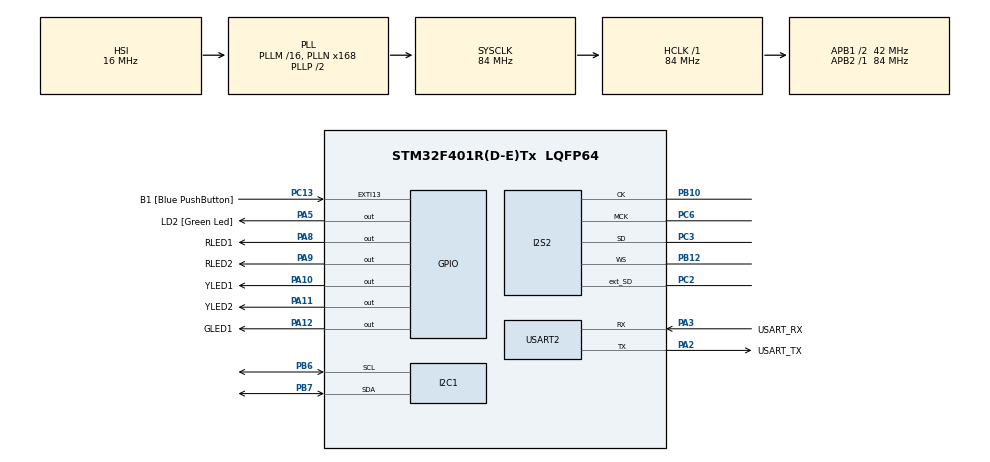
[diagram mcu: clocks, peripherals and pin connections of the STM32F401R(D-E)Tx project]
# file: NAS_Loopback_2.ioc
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Dma.I2S2_EXT_RX.1.Direction=DMA_PERIPH_TO_MEMORY
Dma.I2S2_EXT_RX.1.FIFOMode=DMA_FIFOMODE_DISABLE
Dma.I2S2_EXT_RX.1.Instance=DMA1_Stream3
Dma.I2S2_EXT_RX.1.MemDataAlignment=DMA_MDATAALIGN_HALFWORD
Dma.I2S2_EXT_RX.1.MemInc=DMA_MINC_ENABLE
Dma.I2S2_EXT_RX.1.Mode=DMA_CIRCULAR
Dma.I2S2_EXT_RX.1.PeriphDataAlignment=DMA_PDATAALIGN_HALFWORD
Dma.I2S2_EXT_RX.1.PeriphInc=DMA_PINC_DISABLE
Dma.I2S2_EXT_RX.1.Priority=DMA_PRIORITY_VERY_HIGH
Dma.Request0=SPI2_TX
Dma.Request1=I2S2_EXT_RX
Dma.SPI2_TX.0.Direction=DMA_MEMORY_TO_PERIPH
Dma.SPI2_TX.0.FIFOMode=DMA_FIFOMODE_DISABLE
Dma.SPI2_TX.0.Instance=DMA1_Stream4
Dma.SPI2_TX.0.MemDataAlignment=DMA_MDATAALIGN_HALFWORD
Dma.SPI2_TX.0.MemInc=DMA_MINC_ENABLE
Dma.SPI2_TX.0.Mode=DMA_CIRCULAR
Dma.SPI2_TX.0.PeriphDataAlignment=DMA_PDATAALIGN_HALFWORD
Dma.SPI2_TX.0.PeriphInc=DMA_PINC_DISABLE
Dma.SPI2_TX.0.Priority=DMA_PRIORITY_VERY_HIGH
I2C1.I2C_Mode=I2C_Standard
I2S2.AudioFreq=I2S_AUDIOFREQ_48K
I2S2.ErrorAudioFreq=-0.01 %
I2S2.FullDuplexMode=I2S_FULLDUPLEXMODE_ENABLE
I2S2.Instance=SPI$Index
I2S2.Mode=I2S_MODE_MASTER_TX
I2S2.RealAudioFreq=47.991 KHz
I2S2.Standard=I2S_STANDARD_PHILIPS
I2S2.VirtualMode=I2S_MODE_MASTER
Mcu.Family=STM32F4
Mcu.Name=STM32F401R(D-E)Tx
Mcu.Package=LQFP64
NVIC.DMA1_Stream3_IRQn=true\:0\:0\:false\:false\:true\:false\:true\:true
NVIC.DMA1_Stream4_IRQn=true\:0\:0\:false\:false\:true\:false\:true\:true
NVIC.PriorityGroup=NVIC_PRIORITYGROUP_0
NVIC.TIM3_IRQn=true\:0\:0\:false\:false\:true\:true\:true\:true
PA10.GPIO_Label=YLED1
PA10.Signal=GPIO_Output
PA11.GPIO_Label=YLED2
PA11.Signal=GPIO_Output
PA12.GPIO_Label=GLED1
PA12.Signal=GPIO_Output
PA14.GPIO_Label=TCK
PA14.Signal=SYS_JTCK-SWCLK
PA2.GPIO_Label=USART_TX
PA2.GPIO_Mode=GPIO_MODE_AF_PP
PA2.GPIO_PuPd=GPIO_NOPULL
PA2.GPIO_Speed=GPIO_SPEED_FREQ_LOW
PA2.Mode=Asynchronous
PA2.Signal=USART2_TX
PA3.GPIO_Label=USART_RX
PA3.GPIO_Mode=GPIO_MODE_AF_PP
PA3.GPIO_PuPd=GPIO_NOPULL
PA3.GPIO_Speed=GPIO_SPEED_FREQ_LOW
PA3.Mode=Asynchronous
PA3.Signal=USART2_RX
PA5.GPIO_Label=LD2 [Green Led]
PA5.GPIO_Mode=GPIO_MODE_OUTPUT_PP
PA5.GPIO_PuPd=GPIO_NOPULL
PA5.GPIO_Speed=GPIO_SPEED_FREQ_LOW
PA5.Signal=GPIO_Output
PA8.GPIO_Label=RLED1
PA8.Signal=GPIO_Output
PA9.GPIO_Label=RLED2
PA9.Signal=GPIO_Output
PB10.Mode=Full_Duplex_Master
PB10.Signal=I2S2_CK
PB12.Mode=Full_Duplex_Master
PB12.Signal=I2S2_WS
PB3.GPIO_Label=SWO
PB3.Signal=SYS_JTDO-SWO
PB6.Mode=I2C
PB6.Signal=I2C1_SCL
PB7.Mode=I2C
PB7.Signal=I2C1_SDA
PC13-ANTI_TAMP.GPIO_Label=B1 [Blue PushButton]
PC13-ANTI_TAMP.GPIO_ModeDefaultEXTI=GPIO_MODE_IT_FALLING
PC13-ANTI_TAMP.GPIO_PuPd=GPIO_NOPULL
PC13-ANTI_TAMP.Signal=GPXTI13
PC14-OSC32_IN.Mode=LSE-External-Oscillator
PC14-OSC32_IN.Signal=RCC_OSC32_IN
PC15-OSC32_OUT.Mode=LSE-External-Oscillator
PC15-OSC32_OUT.Signal=RCC_OSC32_OUT
PC2.Mode=Full_Duplex_Master
PC2.Signal=I2S2_ext_SD
PC3.Mode=Full_Duplex_Master
PC3.Signal=I2S2_SD
PC6.Mode=Master_Clock_Activated
PC6.Signal=I2S2_MCK
PH0\ -\ OSC_IN.Mode=HSE-External-Clock-Source
PH0\ -\ OSC_IN.Signal=RCC_OSC_IN
PH1\ -\ OSC_OUT.Mode=HSE-External-Clock-Source
PH1\ -\ OSC_OUT.Signal=RCC_OSC_OUT
ProjectManager.HeapSize=0x200
ProjectManager.StackSize=0x400
ProjectManager.TargetToolchain=STM32CubeIDE
RCC.48MHZClocksFreq_Value=24000000
RCC.AHBFreq_Value=84000000
RCC.APB1CLKDivider=RCC_HCLK_DIV2
RCC.APB1Freq_Value=42000000
RCC.APB1TimFreq_Value=84000000
RCC.APB2Freq_Value=84000000
RCC.APB2TimFreq_Value=84000000
RCC.CortexFreq_Value=84000000
RCC.HCLKFreq_Value=84000000
RCC.HSE_VALUE=8000000
RCC.HSI_VALUE=16000000
RCC.PLLI2SN=258
RCC.PLLI2SR=3
RCC.PLLN=168
RCC.PLLQ=7
RCC.SYSCLKFreq_VALUE=84000000
RCC.SYSCLKSource=RCC_SYSCLKSOURCE_PLLCLK
RCC.VCOOutputFreq_Value=168000000
TIM3.Period=10000-1
TIM3.Prescaler=8400-1
USART2.VirtualMode=VM_ASYNC
VP_TIM3_VS_ClockSourceINT.Mode=Internal
board=NUCLEO-F401RE

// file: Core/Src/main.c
/* USER CODE BEGIN Header */

/* USER CODE END Header */
#include "main.h"

/* USER CODE BEGIN Includes */
#include "stdio.h"
#include "TLV320AIC3101_Codec.h"
/* USER CODE END Includes */

/* USER CODE BEGIN PD */
#define HIGH 1
#define LOW 0
#define NUM_LEDS 5
#define TIMEOUT 500
#define BUFF_SIZE 50
#define RESET_TIME 50
/* USER CODE END PD */

I2C_HandleTypeDef hi2c1;

I2S_HandleTypeDef hi2s2;
DMA_HandleTypeDef hdma_spi2_tx;
DMA_HandleTypeDef hdma_i2s2_ext_rx;

TIM_HandleTypeDef htim3;

UART_HandleTypeDef huart2;

/* USER CODE BEGIN PV */
uint8_t TIM3_ISR_FLAG = 0;
uint16_t LED_PIN[NUM_LEDS]={RLED1_Pin, RLED2_Pin, YLED1_Pin, YLED2_Pin, GLED1_Pin};
Codec codec;
// buffer of sound data where odd indexes are left channel, even are right one
uint16_t rx_data[BUFF_SIZE];
uint16_t tx_data[BUFF_SIZE];
static volatile uint16_t* inBufPtr;
static volatile uint16_t* outBufPtr = &tx_data[0];
char buff[100];
/* USER CODE END PV */

void SystemClock_Config(void);
static void MX_GPIO_Init(void);
static void MX_DMA_Init(void);
static void MX_USART2_UART_Init(void);
static void MX_I2C1_Init(void);
static void MX_TIM3_Init(void);
static void MX_I2S2_Init(void);
/* USER CODE BEGIN PFP */
static void Led_Clear();
//static void Codec_Setup();
/* USER CODE END PFP */

/* USER CODE BEGIN 0 */
static void Led_Clear(){
	HAL_GPIO_WritePin(GPIOA, RLED1_Pin|RLED2_Pin|YLED1_Pin|YLED2_Pin|GLED1_Pin, GPIO_PIN_RESET);
}

/* 2 DMA streams are used, 1 RX ,1 TX */
/* move half of the receiving DMA into the half of the transmitting DMA */
void process_half(){

	uint16_t volume = 0;

	for(uint8_t n=0 ; n < (BUFF_SIZE/2) - 1; n++){
		//LEFT
		*(outBufPtr+n)=*(inBufPtr+n); //tx_data --> rx_data
		//RIGHT
		//outBufPtr[n+1]=inBufPtr[n+1];

		//VU METER FATTO MALE SOLO PER PROVARE
		volume = (*(inBufPtr+n));
		Led_Clear();
		if(volume>55296){
			HAL_GPIO_WritePin(GPIOA, LED_PIN[0], HIGH);
			HAL_GPIO_WritePin(GPIOA, LED_PIN[1], HIGH);
			HAL_GPIO_WritePin(GPIOA, LED_PIN[2], HIGH);
			HAL_GPIO_WritePin(GPIOA, LED_PIN[3], HIGH);
			HAL_GPIO_WritePin(GPIOA, LED_PIN[4], HIGH);
			//HAL_GPIO_WritePin(GPIOA, LED_PIN[5], HIGH);
		}else if(volume<55296 && volume>13824){
			HAL_GPIO_WritePin(GPIOA, LED_PIN[1], HIGH);
			HAL_GPIO_WritePin(GPIOA, LED_PIN[2], HIGH);
			HAL_GPIO_WritePin(GPIOA, LED_PIN[3], HIGH);
			HAL_GPIO_WritePin(GPIOA, LED_PIN[4], HIGH);
			//HAL_GPIO_WritePin(GPIOA, LED_PIN[5], HIGH);
		}else if(volume<13824 && volume>4608){
			HAL_GPIO_WritePin(GPIOA, LED_PIN[2], HIGH);
			HAL_GPIO_WritePin(GPIOA, LED_PIN[3], HIGH);
			HAL_GPIO_WritePin(GPIOA, LED_PIN[4], HIGH);
			//HAL_GPIO_WritePin(GPIOA, LED_PIN[5], HIGH);
		}else if(volume<4608 && volume>1536){
			HAL_GPIO_WritePin(GPIOA, LED_PIN[3], HIGH);
			HAL_GPIO_WritePin(GPIOA, LED_PIN[4], HIGH);
			//HAL_GPIO_WritePin(GPIOA, LED_PIN[5], HIGH);
		}else if(volume<1536 && volume>512){
			HAL_GPIO_WritePin(GPIOA, LED_PIN[4], HIGH);
			//HAL_GPIO_WritePin(GPIOA, LED_PIN[5], HIGH);
		}else if(volume<512 && volume>0){
			//HAL_GPIO_WritePin(GPIOA, LED_PIN[5], HIGH);
		}
	}
}

/* first half ready DMA callback*/
void HAL_I2SEx_TxRxHalfCpltCallback(I2S_HandleTypeDef *hi2s){
	inBufPtr = rx_data; // pointing to rx_data of DMA
	outBufPtr = tx_data; // pointing to tx_data of DMA
	process_half(); // move data from RX to TX DMA

}
/* second half ready DMA callback*/
void HAL_I2SEx_TxRxCpltCallback(I2S_HandleTypeDef *hi2s){
	inBufPtr = (rx_data + BUFF_SIZE/2);
	outBufPtr = (tx_data + BUFF_SIZE/2);
	process_half(); // move data from RX to TX DMA
}
/*
void HAL_I2S_RxHalfCpltCallback(I2S_HandleTypeDef *hi2s){
	//HAL_I2S_Transmit_(hi2s, rx_data, BUFF_SIZE/2, 10);
	HAL_I2S_Transmit_DMA(&hi2s2, rx_data, BUFF_SIZE/2);
}
void HAL_I2S_RxCpltCallback(I2S_HandleTypeDef *hi2s){
	//HAL_I2S_Transmit(hi2s, (rx_data + BUFF_SIZE/2), BUFF_SIZE/2, 10);
	HAL_I2S_Transmit_DMA(&hi2s2, (rx_data + BUFF_SIZE/2), BUFF_SIZE/2);
}
*/
/*TIMER 3 used to turn on LED every second*/
void HAL_TIM_PeriodElapsedCallback(TIM_HandleTypeDef *htim){
	if(htim == &htim3)
		TIM3_ISR_FLAG = 1;
}

/* USER CODE END 0 */

int main(void)
{
  /* USER CODE BEGIN 1 */
  uint8_t led_index = 0, len = 0, reg_val = 0;
  /* USER CODE END 1 */

  /* MCU Configuration--------------------------------------------------------*/

  /* Reset of all peripherals, Initializes the Flash interface and the Systick. */
  HAL_Init();

  /* Configure the system clock */
  SystemClock_Config();

  /* Initialize all configured peripherals */
  MX_GPIO_Init();
  MX_DMA_Init();
  MX_USART2_UART_Init();
  MX_I2C1_Init();
  MX_TIM3_Init();
  MX_I2S2_Init();
  /* USER CODE BEGIN 2 */

  /* Wait for Codec HW reset */
  HAL_Delay(RESET_TIME);

  /* Codec Setup */
  if(Codec_Init(&codec, &hi2c1) != HAL_OK){
	  while(1){
	  		  HAL_GPIO_TogglePin(GPIOA, LD2_Pin);
	  		  HAL_Delay(300);
	  }}
  else{
	  len = snprintf(buff, sizeof(buff),"Inizializzazione Codec riuscita.\r\n");
	  HAL_UART_Transmit(&huart2, (uint8_t*)buff, len, 100);
  }

  /* Check registers value to be ok */
  Codec_ReadRegister(&codec, 0x0B, &reg_val);
  len = snprintf(buff, sizeof(buff),"Registro 11: %x \r\n", reg_val);
  HAL_UART_Transmit(&huart2, (uint8_t*)buff, len, 100);
  HAL_Delay(10);

  Codec_ReadRegister(&codec, 0x24, &reg_val);
  len = snprintf(buff, sizeof(buff),"Registro 36: %x \r\n", reg_val);
  HAL_UART_Transmit(&huart2, (uint8_t*)buff, len, 100);
  HAL_Delay(10);

  Codec_ReadRegister(&codec, 0x5E, &reg_val);
  len = snprintf(buff, sizeof(buff),"Registro 94: %x \r\n", reg_val);
  HAL_UART_Transmit(&huart2, (uint8_t*)buff, len, 100);
  HAL_Delay(10);

  Codec_ReadRegister(&codec, 0x5F, &reg_val);
  len = snprintf(buff, sizeof(buff),"Registro 95: %x \r\n", reg_val);
  HAL_UART_Transmit(&huart2, (uint8_t*)buff, len, 100);
  HAL_Delay(10);

  Codec_ReadRegister(&codec, 0x60, &reg_val);
  len = snprintf(buff, sizeof(buff),"Registro 96: %x \r\n", reg_val);
  HAL_UART_Transmit(&huart2, (uint8_t*)buff, len, 100);

  HAL_Delay(TIMEOUT);

  /* Start I2S with DMA */
  if(HAL_I2SEx_TransmitReceive_DMA(&hi2s2, tx_data, rx_data, BUFF_SIZE) != HAL_OK){
	  while(1){
		  HAL_GPIO_TogglePin(GPIOA, LD2_Pin);
		  HAL_Delay(300);
	  }}
  else{
	  len = snprintf(buff, sizeof(buff),"Startato DMA per I2S\n\n");
	  HAL_UART_Transmit(&huart2, (uint8_t*)buff, len, 100);
  }

  //Start the Timer 3 to turn on LEDS
  HAL_TIM_Base_Start_IT(&htim3);

  /* USER CODE END 2 */

  /* Infinite loop */
  /* USER CODE BEGIN WHILE */

  while (1){
	  /*if(TIM3_ISR_FLAG){
		  //set new led
		  HAL_GPIO_WritePin(GPIOA, LED_PIN[led_index], HIGH);
		  led_index++;
		  if(led_index == NUM_LEDS+1){
			  led_index = 0;
			  //reset leds
			  Led_Clear();
		  }
		  TIM3_ISR_FLAG = 0;
      // OK, HPLOUT+HPROUT on, not short circuited
      // OK, HPLCOM+HPRCOM on, not short circuited
      // OK, DAC selected L2 path to high power outs + OK, not muted

	  }*/

	  //HAL_I2S_Receive_DMA(&hi2s2, rx_data, BUFF_SIZE);

    /* USER CODE END WHILE */

  }
}

void SystemClock_Config(void)
{
  RCC_OscInitTypeDef RCC_OscInitStruct = {0};
  RCC_ClkInitTypeDef RCC_ClkInitStruct = {0};

  /** Configure the main internal regulator output voltage
  */
  __HAL_RCC_PWR_CLK_ENABLE();
  __HAL_PWR_VOLTAGESCALING_CONFIG(PWR_REGULATOR_VOLTAGE_SCALE2);

  /** Initializes the RCC Oscillators according to the specified parameters
  * in the RCC_OscInitTypeDef structure.
  */
  RCC_OscInitStruct.OscillatorType = RCC_OSCILLATORTYPE_HSI;
  RCC_OscInitStruct.HSIState = RCC_HSI_ON;
  RCC_OscInitStruct.HSICalibrationValue = RCC_HSICALIBRATION_DEFAULT;
  RCC_OscInitStruct.PLL.PLLState = RCC_PLL_ON;
  RCC_OscInitStruct.PLL.PLLSource = RCC_PLLSOURCE_HSI;
  RCC_OscInitStruct.PLL.PLLM = 16;
  RCC_OscInitStruct.PLL.PLLN = 168;
  RCC_OscInitStruct.PLL.PLLP = RCC_PLLP_DIV2;
  RCC_OscInitStruct.PLL.PLLQ = 7;
  if (HAL_RCC_OscConfig(&RCC_OscInitStruct) != HAL_OK)
  {
    Error_Handler();
  }

  /** Initializes the CPU, AHB and APB buses clocks
  */
  RCC_ClkInitStruct.ClockType = RCC_CLOCKTYPE_HCLK|RCC_CLOCKTYPE_SYSCLK
                              |RCC_CLOCKTYPE_PCLK1|RCC_CLOCKTYPE_PCLK2;
  RCC_ClkInitStruct.SYSCLKSource = RCC_SYSCLKSOURCE_PLLCLK;
  RCC_ClkInitStruct.AHBCLKDivider = RCC_SYSCLK_DIV1;
  RCC_ClkInitStruct.APB1CLKDivider = RCC_HCLK_DIV2;
  RCC_ClkInitStruct.APB2CLKDivider = RCC_HCLK_DIV1;

  if (HAL_RCC_ClockConfig(&RCC_ClkInitStruct, FLASH_LATENCY_2) != HAL_OK)
  {
    Error_Handler();
  }
}

static void MX_I2C1_Init(void)
{

  hi2c1.Instance = I2C1;
  hi2c1.Init.ClockSpeed = 100000;
  hi2c1.Init.DutyCycle = I2C_DUTYCYCLE_2;
  hi2c1.Init.OwnAddress1 = 0;
  hi2c1.Init.AddressingMode = I2C_ADDRESSINGMODE_7BIT;
  hi2c1.Init.DualAddressMode = I2C_DUALADDRESS_DISABLE;
  hi2c1.Init.OwnAddress2 = 0;
  hi2c1.Init.GeneralCallMode = I2C_GENERALCALL_DISABLE;
  hi2c1.Init.NoStretchMode = I2C_NOSTRETCH_DISABLE;
  if (HAL_I2C_Init(&hi2c1) != HAL_OK)
  {
    Error_Handler();
  }

}

static void MX_I2S2_Init(void)
{

  hi2s2.Instance = SPI2;
  hi2s2.Init.Mode = I2S_MODE_MASTER_TX;
  hi2s2.Init.Standard = I2S_STANDARD_PHILIPS;
  hi2s2.Init.DataFormat = I2S_DATAFORMAT_16B;
  hi2s2.Init.MCLKOutput = I2S_MCLKOUTPUT_ENABLE;
  hi2s2.Init.AudioFreq = I2S_AUDIOFREQ_48K;
  hi2s2.Init.CPOL = I2S_CPOL_LOW;
  hi2s2.Init.ClockSource = I2S_CLOCK_PLL;
  hi2s2.Init.FullDuplexMode = I2S_FULLDUPLEXMODE_ENABLE;
  if (HAL_I2S_Init(&hi2s2) != HAL_OK)
  {
    Error_Handler();
  }

}

static void MX_TIM3_Init(void)
{

  TIM_ClockConfigTypeDef sClockSourceConfig = {0};
  TIM_MasterConfigTypeDef sMasterConfig = {0};

  htim3.Instance = TIM3;
  htim3.Init.Prescaler = 8400-1;
  htim3.Init.CounterMode = TIM_COUNTERMODE_UP;
  htim3.Init.Period = 10000-1;
  htim3.Init.ClockDivision = TIM_CLOCKDIVISION_DIV1;
  htim3.Init.AutoReloadPreload = TIM_AUTORELOAD_PRELOAD_DISABLE;
  if (HAL_TIM_Base_Init(&htim3) != HAL_OK)
  {
    Error_Handler();
  }
  sClockSourceConfig.ClockSource = TIM_CLOCKSOURCE_INTERNAL;
  if (HAL_TIM_ConfigClockSource(&htim3, &sClockSourceConfig) != HAL_OK)
  {
    Error_Handler();
  }
  sMasterConfig.MasterOutputTrigger = TIM_TRGO_RESET;
  sMasterConfig.MasterSlaveMode = TIM_MASTERSLAVEMODE_DISABLE;
  if (HAL_TIMEx_MasterConfigSynchronization(&htim3, &sMasterConfig) != HAL_OK)
  {
    Error_Handler();
  }

}

static void MX_USART2_UART_Init(void)
{

  huart2.Instance = USART2;
  huart2.Init.BaudRate = 115200;
  huart2.Init.WordLength = UART_WORDLENGTH_8B;
  huart2.Init.StopBits = UART_STOPBITS_1;
  huart2.Init.Parity = UART_PARITY_NONE;
  huart2.Init.Mode = UART_MODE_TX_RX;
  huart2.Init.HwFlowCtl = UART_HWCONTROL_NONE;
  huart2.Init.OverSampling = UART_OVERSAMPLING_16;
  if (HAL_UART_Init(&huart2) != HAL_OK)
  {
    Error_Handler();
  }

}

static void MX_DMA_Init(void)
{

  /* DMA controller clock enable */
  __HAL_RCC_DMA1_CLK_ENABLE();

  /* DMA interrupt init */
  /* DMA1_Stream3_IRQn interrupt configuration */
  HAL_NVIC_SetPriority(DMA1_Stream3_IRQn, 0, 0);
  HAL_NVIC_EnableIRQ(DMA1_Stream3_IRQn);
  /* DMA1_Stream4_IRQn interrupt configuration */
  HAL_NVIC_SetPriority(DMA1_Stream4_IRQn, 0, 0);
  HAL_NVIC_EnableIRQ(DMA1_Stream4_IRQn);

}

static void MX_GPIO_Init(void)
{
  GPIO_InitTypeDef GPIO_InitStruct = {0};

  /* GPIO Ports Clock Enable */
  __HAL_RCC_GPIOC_CLK_ENABLE();
  __HAL_RCC_GPIOH_CLK_ENABLE();
  __HAL_RCC_GPIOA_CLK_ENABLE();
  __HAL_RCC_GPIOB_CLK_ENABLE();

  /*Configure GPIO pin Output Level */
  HAL_GPIO_WritePin(GPIOA, LD2_Pin|RLED1_Pin|RLED2_Pin|YLED1_Pin
                          |YLED2_Pin|GLED1_Pin, GPIO_PIN_RESET);

  /*Configure GPIO pin : B1_Pin */
  GPIO_InitStruct.Pin = B1_Pin;
  GPIO_InitStruct.Mode = GPIO_MODE_IT_FALLING;
  GPIO_InitStruct.Pull = GPIO_NOPULL;
  HAL_GPIO_Init(B1_GPIO_Port, &GPIO_InitStruct);

  /*Configure GPIO pins : LD2_Pin RLED1_Pin RLED2_Pin YLED1_Pin
                           YLED2_Pin GLED1_Pin */
  GPIO_InitStruct.Pin = LD2_Pin|RLED1_Pin|RLED2_Pin|YLED1_Pin
                          |YLED2_Pin|GLED1_Pin;
  GPIO_InitStruct.Mode = GPIO_MODE_OUTPUT_PP;
  GPIO_InitStruct.Pull = GPIO_NOPULL;
  GPIO_InitStruct.Speed = GPIO_SPEED_FREQ_LOW;
  HAL_GPIO_Init(GPIOA, &GPIO_InitStruct);

}

void Error_Handler(void)
{
  __disable_irq();
  while (1)
  {
  }
}
